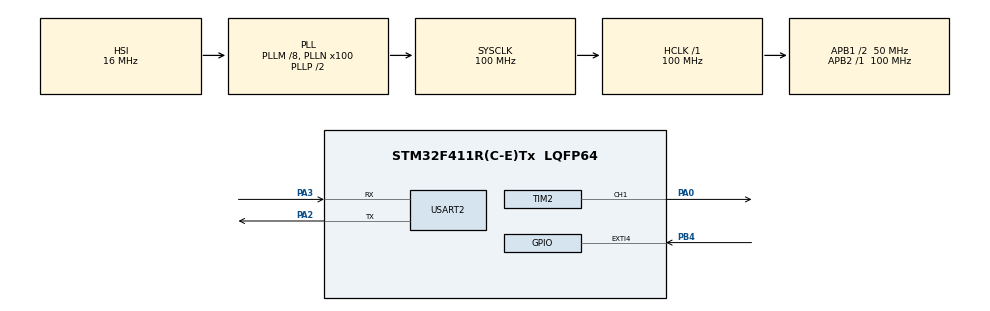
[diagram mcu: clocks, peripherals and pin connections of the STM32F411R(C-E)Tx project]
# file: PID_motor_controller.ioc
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Mcu.Family=STM32F4
Mcu.Name=STM32F411R(C-E)Tx
Mcu.Package=LQFP64
NVIC.EXTI4_IRQn=true\:0\:1\:true\:false\:true\:true\:true\:true
NVIC.PriorityGroup=NVIC_PRIORITYGROUP_0
PA0-WKUP.Signal=S_TIM2_CH1_ETR
PA13.Mode=Serial_Wire
PA13.Signal=SYS_JTMS-SWDIO
PA14.Mode=Serial_Wire
PA14.Signal=SYS_JTCK-SWCLK
PA2.Mode=Asynchronous
PA2.Signal=USART2_TX
PA3.Mode=Asynchronous
PA3.Signal=USART2_RX
PB4.GPIO_PuPd=GPIO_NOPULL
PB4.Signal=GPXTI4
PH0\ -\ OSC_IN.Mode=HSE-External-Oscillator
PH0\ -\ OSC_IN.Signal=RCC_OSC_IN
PH1\ -\ OSC_OUT.Mode=HSE-External-Oscillator
PH1\ -\ OSC_OUT.Signal=RCC_OSC_OUT
ProjectManager.HeapSize=0x200
ProjectManager.StackSize=0x400
ProjectManager.TargetToolchain=STM32CubeIDE
RCC.48MHZClocksFreq_Value=50000000
RCC.AHBFreq_Value=100000000
RCC.APB1CLKDivider=RCC_HCLK_DIV2
RCC.APB1Freq_Value=50000000
RCC.APB1TimFreq_Value=100000000
RCC.APB2Freq_Value=100000000
RCC.APB2TimFreq_Value=100000000
RCC.CortexFreq_Value=100000000
RCC.FLatency-AdvancedSettings=FLASH_LATENCY_3
RCC.HCLKFreq_Value=100000000
RCC.HSE_VALUE=8000000
RCC.HSI_VALUE=16000000
RCC.LSE_VALUE=32768
RCC.PLLM=8
RCC.PLLN=100
RCC.SYSCLKFreq_VALUE=100000000
RCC.SYSCLKSource=RCC_SYSCLKSOURCE_PLLCLK
RCC.VCOOutputFreq_Value=200000000
SH.S_TIM2_CH1_ETR.0=TIM2_CH1,PWM Generation1 CH1
TIM2.Channel-PWM\ Generation1\ CH1=TIM_CHANNEL_1
TIM2.Period=250-1
TIM2.Prescaler=20-1
USART2.VirtualMode=VM_ASYNC
VP_TIM2_VS_ClockSourceINT.Mode=Internal
board=NUCLEO-F411RE

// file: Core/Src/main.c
/* USER CODE BEGIN Header */
/**
  ******************************************************************************
  * @file           : main.c
  * @brief          : Main program body
  ******************************************************************************
  * @attention
  *
  * Copyright (c) 2026 STMicroelectronics.
  * All rights reserved.
  *
  * This software is licensed under terms that can be found in the LICENSE file
  * in the root directory of this software component.
  * If no LICENSE file comes with this software, it is provided AS-IS.
  *
  ******************************************************************************
  */
/* USER CODE END Header */
#include "main.h"
#include "tim.h"
#include "usart.h"
#include "gpio.h"

/* USER CODE BEGIN Includes */
#include "rpm_counter.h"
#include "escalon.h"
#include "prbs9.h"
/* USER CODE END Includes */

/* USER CODE BEGIN PV */
volatile int pulse_count;
int duty_cycle;
int ARR = 250 - 1;
uint32_t current_time;
uint8_t finished = 0;
/* USER CODE END PV */

void SystemClock_Config(void);

int main(void)
{

  /* MCU Configuration--------------------------------------------------------*/

  /* Reset of all peripherals, Initializes the Flash interface and the Systick. */

	HAL_Init();

  /* Configure the system clock */
  SystemClock_Config();

  /* Initialize all configured peripherals */
  MX_GPIO_Init();
  MX_TIM2_Init();
  MX_USART2_UART_Init();
  /* USER CODE BEGIN 2 */
  HAL_TIM_PWM_Start(&htim2, TIM_CHANNEL_1);
  /* USER CODE END 2 */

  /* Infinite loop */
  while (1)
  {

    /* USER CODE BEGIN 3 */
	  finished = 0;
	  rpm_counter();
  }
  /* USER CODE END 3 */
}

void SystemClock_Config(void)
{
  RCC_OscInitTypeDef RCC_OscInitStruct = {0};
  RCC_ClkInitTypeDef RCC_ClkInitStruct = {0};

  /** Configure the main internal regulator output voltage
  */
  __HAL_RCC_PWR_CLK_ENABLE();
  __HAL_PWR_VOLTAGESCALING_CONFIG(PWR_REGULATOR_VOLTAGE_SCALE1);

  /** Initializes the RCC Oscillators according to the specified parameters
  * in the RCC_OscInitTypeDef structure.
  */
  RCC_OscInitStruct.OscillatorType = RCC_OSCILLATORTYPE_HSI;
  RCC_OscInitStruct.HSIState = RCC_HSI_ON;
  RCC_OscInitStruct.HSICalibrationValue = RCC_HSICALIBRATION_DEFAULT;
  RCC_OscInitStruct.PLL.PLLState = RCC_PLL_ON;
  RCC_OscInitStruct.PLL.PLLSource = RCC_PLLSOURCE_HSI;
  RCC_OscInitStruct.PLL.PLLM = 8;
  RCC_OscInitStruct.PLL.PLLN = 100;
  RCC_OscInitStruct.PLL.PLLP = RCC_PLLP_DIV2;
  RCC_OscInitStruct.PLL.PLLQ = 4;
  if (HAL_RCC_OscConfig(&RCC_OscInitStruct) != HAL_OK)
  {
    Error_Handler();
  }

  /** Initializes the CPU, AHB and APB buses clocks
  */
  RCC_ClkInitStruct.ClockType = RCC_CLOCKTYPE_HCLK|RCC_CLOCKTYPE_SYSCLK
                              |RCC_CLOCKTYPE_PCLK1|RCC_CLOCKTYPE_PCLK2;
  RCC_ClkInitStruct.SYSCLKSource = RCC_SYSCLKSOURCE_PLLCLK;
  RCC_ClkInitStruct.AHBCLKDivider = RCC_SYSCLK_DIV1;
  RCC_ClkInitStruct.APB1CLKDivider = RCC_HCLK_DIV2;
  RCC_ClkInitStruct.APB2CLKDivider = RCC_HCLK_DIV1;

  if (HAL_RCC_ClockConfig(&RCC_ClkInitStruct, FLASH_LATENCY_3) != HAL_OK)
  {
    Error_Handler();
  }
}

/* USER CODE BEGIN 4 */
void HAL_GPIO_EXTI_Callback(uint16_t GPIO_Pin)
{
	if (GPIO_Pin == GPIO_PIN_4)
	{
		pulse_count++;
	}

	else
	{
		__NOP();
	}
}
/* USER CODE END 4 */

void Error_Handler(void)
{
  __disable_irq();
  while (1)
  {
  }
}
